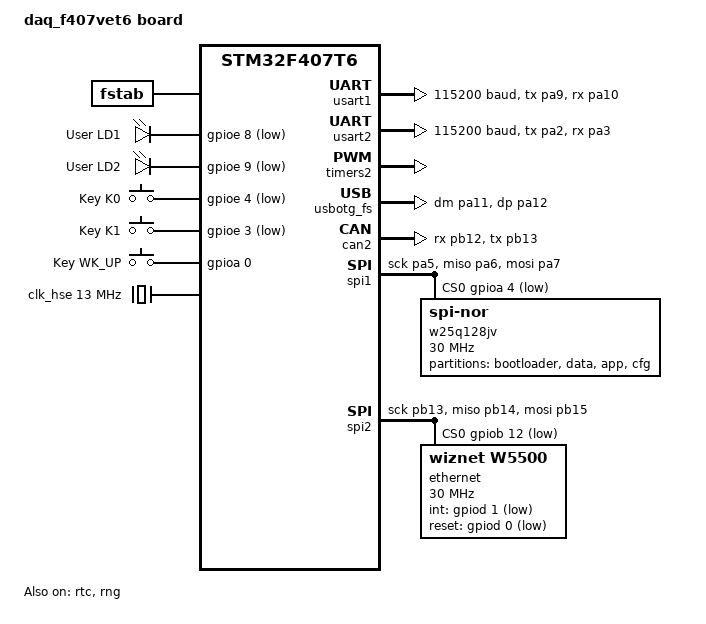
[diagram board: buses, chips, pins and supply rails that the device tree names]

/dts-v1/;
#include <st/f4/stm32f407Xe.dtsi>
#include <st/f4/stm32f407v(e-g)tx-pinctrl.dtsi>
#include <zephyr/dt-bindings/input/input-event-codes.h>

/ {
	model = "daq_f407vet6 board";
	compatible = "daq-stm32f407t6";

	chosen {
		zephyr,console = &usart1;
		zephyr,shell-uart = &usart1;
		zephyr,sram = &sram0;
		zephyr,flash = &flash0;
		zephyr,ccm = &ccm0;
		zephyr,canbus = &can2;
		zephyr,settings-partition = &cfg_partition;
	};
	fstab {
		compatible = "zephyr,fstab";
		lfs1: lfs1 {
			compatible = "zephyr,fstab,littlefs";
			read-size = <1>;
			prog-size = <16>;
			cache-size = <256>;
			lookahead-size = <32>;
			block-cycles = <512>;
			automount;
			partition = <&storage_partition>;
			mount-point = "/lfs1";
		};
	};
	leds {
		compatible = "gpio-leds";
		green_led_1: led_1 {
			gpios = <&gpioe 8 GPIO_ACTIVE_LOW>;
			label = "User LD1";
		};
		green_led_2: led_2 {
			gpios = <&gpioe 9 GPIO_ACTIVE_LOW>;
			label = "User LD2";
		};
	};

	gpio_keys {
		compatible = "gpio-keys";
		user_button_0: K0 {
			label = "Key K0";
			gpios = <&gpioe 4 GPIO_ACTIVE_LOW>;
			zephyr,code = <INPUT_KEY_0>;
		};
		user_button_1: K1 {
			label = "Key K1";
			gpios = <&gpioe 3 GPIO_ACTIVE_LOW>;
			zephyr,code = <INPUT_KEY_1>;
		};
		user_button_UP: K_UP {
			label = "Key WK_UP";
			gpios = <&gpioa 0 GPIO_ACTIVE_HIGH>;
			zephyr,code = <INPUT_KEY_UP>;
		};
	};

	aliases {
		led0 = &green_led_1;
		led1 = &green_led_2;
		sw0 = &user_button_UP;
	};
};

&clk_lsi {
	status = "okay";
};

&clk_hse {
	clock-frequency = <DT_FREQ_M(13)>;
	status = "okay";
};

&pll {
	div-m = <13>;
	mul-n = <336>;
	div-p = <2>;
	div-q = <7>;
	clocks = <&clk_hse>;
	status = "okay";
};

&rcc {
	clocks = <&pll>;
	clock-frequency = <DT_FREQ_M(168)>;
	ahb-prescaler = <1>;
	apb1-prescaler = <4>;
	apb2-prescaler = <2>;
};

&usart1 {
	pinctrl-0 = <&usart1_tx_pa9 &usart1_rx_pa10>;
	pinctrl-names = "default";
	current-speed = <115200>;
	status = "okay";
};

&usart2 {
	pinctrl-0 = <&usart2_tx_pa2 &usart2_rx_pa3>;
	pinctrl-names = "default";
	current-speed = <115200>;
	status = "okay";
};

&timers2 {
	status = "okay";

	pwm2: pwm {
		status = "okay";
		pinctrl-0 = <&tim2_ch1_pa0>;
		pinctrl-names = "default";
	};
};

&rtc {
	clocks = <&rcc STM32_CLOCK_BUS_APB1 0x10000000>,
		 <&rcc STM32_SRC_LSI RTC_SEL(2)>;
	status = "okay";
};

zephyr_udc0: &usbotg_fs {
	pinctrl-0 = <&usb_otg_fs_dm_pa11 &usb_otg_fs_dp_pa12>;
	pinctrl-names = "default";
	status = "okay";
};

&can1 {
	pinctrl-0 = <&can1_rx_pd0 &can1_tx_pd1>;
	pinctrl-names = "default";
	status = "disabled";
};

&can2 {
	pinctrl-0 = <&can2_rx_pb12 &can2_tx_pb13>;
	pinctrl-names = "default";
	status = "okay";
};
&spi1 {
	pinctrl-0 = <&spi1_sck_pa5 &spi1_miso_pa6 &spi1_mosi_pa7>;
	pinctrl-names = "default";
	status = "okay";
	cs-gpios = <&gpioa 4 GPIO_ACTIVE_LOW>;
	w25q128jv: w25q128jv@0 {
		compatible = "jedec,spi-nor";
		reg = <0x0000000 DT_SIZE_M(16)>;
		spi-max-frequency = <30000000>;
		size = <0x8000000>;
		jedec-id = [ef 40 18];
		partitions {
			compatible = "fixed-partitions";
			#address-cells = <1>;
			#size-cells = <1>;

			boot_partition: partition@0 {
				label = "bootloader";
				reg = <0x00000000 DT_SIZE_M(1)>;
			};

			storage_partition: partition@100000 {
				label = "data";
				reg = <0x00100000 DT_SIZE_M(12)>;
			};
			app_partition: jartition@D00000 {
				label = "app";
				reg = <0x00D00000 DT_SIZE_M(2)>;
			};
			cfg_partition: partition@F00000 {
				label = "cfg";
				reg = <0x00F00000 DT_SIZE_M(1)>;
			};
		};
	};
};

&rng {
	status = "okay";
};

&spi2 {
	pinctrl-0 = <&spi2_sck_pb13 &spi2_miso_pb14 &spi2_mosi_pb15>;
	pinctrl-names = "default";
	status = "okay";
	cs-gpios = <&gpiob 12 GPIO_ACTIVE_LOW>;

	ethernet: w5500@0 {
		compatible = "wiznet,w5500";
		reg = <0x0>;
		spi-max-frequency = <30000000>;
		int-gpios = <&gpiod 1 GPIO_ACTIVE_LOW>;
		reset-gpios = <&gpiod 0 GPIO_ACTIVE_LOW>;
		zephyr,random-mac-address;
		// local-mac-address = [00 00 00 01 02 03];
		status = "okay";
	};
};
